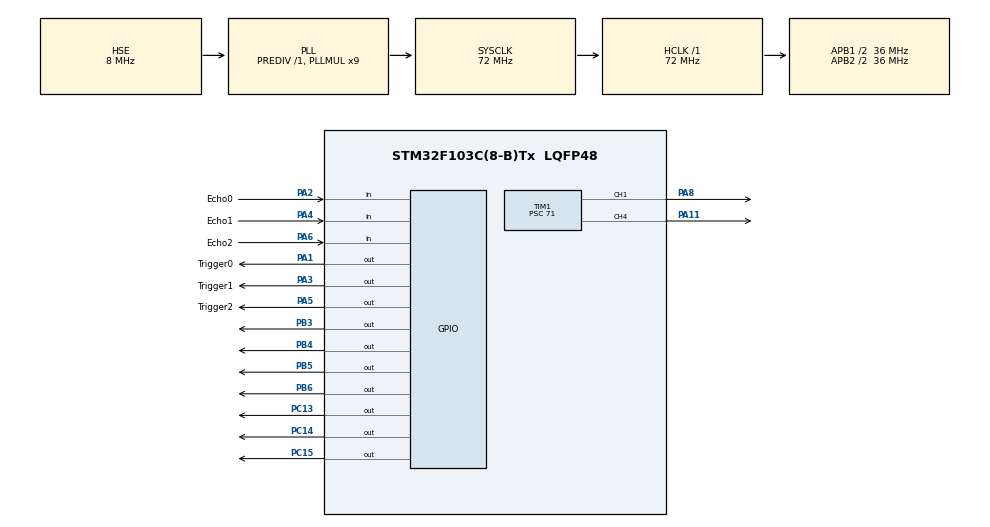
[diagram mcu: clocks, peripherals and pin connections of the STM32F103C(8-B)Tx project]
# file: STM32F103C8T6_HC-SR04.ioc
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Mcu.Family=STM32F1
Mcu.Name=STM32F103C(8-B)Tx
Mcu.Package=LQFP48
NVIC.PriorityGroup=NVIC_PRIORITYGROUP_4
NVIC.TIM2_IRQn=true\:0\:0\:false\:false\:true\:true\:true\:true
PA1.GPIO_Label=Trigger0
PA1.GPIO_Speed=GPIO_SPEED_FREQ_HIGH
PA1.Signal=GPIO_Output
PA11.Signal=S_TIM1_CH4
PA2.GPIO_Label=Echo0
PA2.Signal=GPIO_Input
PA3.GPIO_Label=Trigger1
PA3.GPIO_Speed=GPIO_SPEED_FREQ_HIGH
PA3.Signal=GPIO_Output
PA4.GPIO_Label=Echo1
PA4.Signal=GPIO_Input
PA5.GPIO_Label=Trigger2
PA5.GPIO_Speed=GPIO_SPEED_FREQ_HIGH
PA5.Signal=GPIO_Output
PA6.GPIO_Label=Echo2
PA6.Signal=GPIO_Input
PA8.Signal=S_TIM1_CH1
PB3.Signal=GPIO_Output
PB4.Signal=GPIO_Output
PB5.Signal=GPIO_Output
PB6.Signal=GPIO_Output
PC13-TAMPER-RTC.Signal=GPIO_Output
PC14-OSC32_IN.Signal=GPIO_Output
PC15-OSC32_OUT.Signal=GPIO_Output
PD0-OSC_IN.Mode=HSE-External-Oscillator
PD0-OSC_IN.Signal=RCC_OSC_IN
PD1-OSC_OUT.Mode=HSE-External-Oscillator
PD1-OSC_OUT.Signal=RCC_OSC_OUT
ProjectManager.HeapSize=0x200
ProjectManager.StackSize=0x400
ProjectManager.TargetToolchain=STM32CubeIDE
RCC.AHBFreq_Value=72000000
RCC.APB1CLKDivider=RCC_HCLK_DIV2
RCC.APB1Freq_Value=36000000
RCC.APB1TimFreq_Value=72000000
RCC.APB2CLKDivider=RCC_HCLK_DIV2
RCC.APB2Freq_Value=36000000
RCC.APB2TimFreq_Value=72000000
RCC.HCLKFreq_Value=72000000
RCC.PLLMUL=RCC_PLL_MUL9
RCC.PLLSourceVirtual=RCC_PLLSOURCE_HSE
RCC.SYSCLKFreq_VALUE=72000000
RCC.SYSCLKSource=RCC_SYSCLKSOURCE_PLLCLK
RCC.USBFreq_Value=48000000
RCC.USBPrescaler=RCC_USBCLKSOURCE_PLL_DIV1_5
SH.S_TIM1_CH1.0=TIM1_CH1,PWM Generation1 CH1
SH.S_TIM1_CH4.0=TIM1_CH4,PWM Generation4 CH4
TIM1.Channel-PWM\ Generation1\ CH1=TIM_CHANNEL_1
TIM1.Channel-PWM\ Generation4\ CH4=TIM_CHANNEL_4
TIM1.Period=999
TIM1.Prescaler=71
TIM2.Period=57
TIM2.Prescaler=72
VP_SYS_VS_ND.Mode=No_Debug
VP_TIM1_VS_ClockSourceINT.Mode=Internal
VP_TIM2_VS_ClockSourceINT.Mode=Internal
board=custom

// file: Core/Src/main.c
/* USER CODE BEGIN Header */
/**
  ******************************************************************************
  * @file           : main.c
  * @brief          : Main program body
  ******************************************************************************
  * @attention
  *
  * <h2><center>&copy; Copyright (c) 2020 STMicroelectronics.
  * All rights reserved.</center></h2>
  *
  * This software component is licensed by ST under BSD 3-Clause license,
  * the "License"; You may not use this file except in compliance with the
  * License. You may obtain a copy of the License at:
  *                        opensource.org/licenses/BSD-3-Clause
  *
  ******************************************************************************
  */
/* USER CODE END Header */
#include "main.h"

/* USER CODE BEGIN Includes */
#include "myLibrary.h"
#include "Motor.h"
/* USER CODE END Includes */

TIM_HandleTypeDef htim1;
TIM_HandleTypeDef htim2;

void SystemClock_Config(void);
static void MX_GPIO_Init(void);
static void MX_TIM2_Init(void);
static void MX_TIM1_Init(void);

int main(void)
{

  /* MCU Configuration--------------------------------------------------------*/

  /* Reset of all peripherals, Initializes the Flash interface and the Systick. */
  HAL_Init();

  /* Configure the system clock */
  SystemClock_Config();

  /* Initialize all configured peripherals */
  MX_GPIO_Init();
  MX_TIM2_Init();
  MX_TIM1_Init();
  /* USER CODE BEGIN 2 */

  uint16_t distancesInCm[3];
  /* USER CODE END 2 */
  Motors_Init();
   Set_Speed(100);
   Move_Forward();
  /* Infinite loop */
  /* USER CODE BEGIN WHILE */
  HAL_GPIO_WritePin(GPIOC, GPIO_PIN_13, GPIO_PIN_RESET);
  HAL_GPIO_WritePin(GPIOC, GPIO_PIN_14, GPIO_PIN_RESET);
  HAL_GPIO_WritePin(GPIOC, GPIO_PIN_15, GPIO_PIN_RESET);

  while (1)
  {
    /* USER CODE END WHILE */

    /* USER CODE BEGIN 3 */

	  for(uint16_t i=0; i<3; i++)
	  {
		  sensor = i;//update sensor index in timer2
		  distancesInCm[i] = measureDistance(triggerPorts[i], triggerPins[i], echoPorts[i], echoPins[i]);
		  if (i==0&&distancesInCm[i]<40){
			  HAL_GPIO_WritePin(GPIOC, GPIO_PIN_13, GPIO_PIN_SET);
			  HAL_Delay(5000);
			  HAL_GPIO_WritePin(GPIOC, GPIO_PIN_13, GPIO_PIN_RESET);

		  }
		  if (i==1&&distancesInCm[i]<40){
		  			  HAL_GPIO_WritePin(GPIOC, GPIO_PIN_14, GPIO_PIN_SET);
		  			  HAL_Delay(5000);
		  			  HAL_GPIO_WritePin(GPIOC, GPIO_PIN_14, GPIO_PIN_RESET);

		  		  }
		  if (i==2&&distancesInCm[i]<40){
		  			  HAL_GPIO_WritePin(GPIOC, GPIO_PIN_15, GPIO_PIN_SET);
		  			  HAL_Delay(5000);
		  			  HAL_GPIO_WritePin(GPIOC, GPIO_PIN_15, GPIO_PIN_RESET);
		  		  }

	  }
  }
  /* USER CODE END 3 */
}

void SystemClock_Config(void)
{
  RCC_OscInitTypeDef RCC_OscInitStruct = {0};
  RCC_ClkInitTypeDef RCC_ClkInitStruct = {0};

  /** Initializes the RCC Oscillators according to the specified parameters
  * in the RCC_OscInitTypeDef structure.
  */
  RCC_OscInitStruct.OscillatorType = RCC_OSCILLATORTYPE_HSE;
  RCC_OscInitStruct.HSEState = RCC_HSE_ON;
  RCC_OscInitStruct.HSEPredivValue = RCC_HSE_PREDIV_DIV1;
  RCC_OscInitStruct.HSIState = RCC_HSI_ON;
  RCC_OscInitStruct.PLL.PLLState = RCC_PLL_ON;
  RCC_OscInitStruct.PLL.PLLSource = RCC_PLLSOURCE_HSE;
  RCC_OscInitStruct.PLL.PLLMUL = RCC_PLL_MUL9;
  if (HAL_RCC_OscConfig(&RCC_OscInitStruct) != HAL_OK)
  {
    Error_Handler();
  }
  /** Initializes the CPU, AHB and APB buses clocks
  */
  RCC_ClkInitStruct.ClockType = RCC_CLOCKTYPE_HCLK|RCC_CLOCKTYPE_SYSCLK
                              |RCC_CLOCKTYPE_PCLK1|RCC_CLOCKTYPE_PCLK2;
  RCC_ClkInitStruct.SYSCLKSource = RCC_SYSCLKSOURCE_PLLCLK;
  RCC_ClkInitStruct.AHBCLKDivider = RCC_SYSCLK_DIV1;
  RCC_ClkInitStruct.APB1CLKDivider = RCC_HCLK_DIV2;
  RCC_ClkInitStruct.APB2CLKDivider = RCC_HCLK_DIV2;

  if (HAL_RCC_ClockConfig(&RCC_ClkInitStruct, FLASH_LATENCY_2) != HAL_OK)
  {
    Error_Handler();
  }
}

static void MX_TIM1_Init(void)
{

  TIM_ClockConfigTypeDef sClockSourceConfig = {0};
  TIM_MasterConfigTypeDef sMasterConfig = {0};
  TIM_OC_InitTypeDef sConfigOC = {0};
  TIM_BreakDeadTimeConfigTypeDef sBreakDeadTimeConfig = {0};

  htim1.Instance = TIM1;
  htim1.Init.Prescaler = 71;
  htim1.Init.CounterMode = TIM_COUNTERMODE_UP;
  htim1.Init.Period = 999;
  htim1.Init.ClockDivision = TIM_CLOCKDIVISION_DIV1;
  htim1.Init.RepetitionCounter = 0;
  htim1.Init.AutoReloadPreload = TIM_AUTORELOAD_PRELOAD_DISABLE;
  if (HAL_TIM_Base_Init(&htim1) != HAL_OK)
  {
    Error_Handler();
  }
  sClockSourceConfig.ClockSource = TIM_CLOCKSOURCE_INTERNAL;
  if (HAL_TIM_ConfigClockSource(&htim1, &sClockSourceConfig) != HAL_OK)
  {
    Error_Handler();
  }
  if (HAL_TIM_PWM_Init(&htim1) != HAL_OK)
  {
    Error_Handler();
  }
  sMasterConfig.MasterOutputTrigger = TIM_TRGO_RESET;
  sMasterConfig.MasterSlaveMode = TIM_MASTERSLAVEMODE_DISABLE;
  if (HAL_TIMEx_MasterConfigSynchronization(&htim1, &sMasterConfig) != HAL_OK)
  {
    Error_Handler();
  }
  sConfigOC.OCMode = TIM_OCMODE_PWM1;
  sConfigOC.Pulse = 0;
  sConfigOC.OCPolarity = TIM_OCPOLARITY_HIGH;
  sConfigOC.OCNPolarity = TIM_OCNPOLARITY_HIGH;
  sConfigOC.OCFastMode = TIM_OCFAST_DISABLE;
  sConfigOC.OCIdleState = TIM_OCIDLESTATE_RESET;
  sConfigOC.OCNIdleState = TIM_OCNIDLESTATE_RESET;
  if (HAL_TIM_PWM_ConfigChannel(&htim1, &sConfigOC, TIM_CHANNEL_1) != HAL_OK)
  {
    Error_Handler();
  }
  if (HAL_TIM_PWM_ConfigChannel(&htim1, &sConfigOC, TIM_CHANNEL_4) != HAL_OK)
  {
    Error_Handler();
  }
  sBreakDeadTimeConfig.OffStateRunMode = TIM_OSSR_DISABLE;
  sBreakDeadTimeConfig.OffStateIDLEMode = TIM_OSSI_DISABLE;
  sBreakDeadTimeConfig.LockLevel = TIM_LOCKLEVEL_OFF;
  sBreakDeadTimeConfig.DeadTime = 0;
  sBreakDeadTimeConfig.BreakState = TIM_BREAK_DISABLE;
  sBreakDeadTimeConfig.BreakPolarity = TIM_BREAKPOLARITY_HIGH;
  sBreakDeadTimeConfig.AutomaticOutput = TIM_AUTOMATICOUTPUT_DISABLE;
  if (HAL_TIMEx_ConfigBreakDeadTime(&htim1, &sBreakDeadTimeConfig) != HAL_OK)
  {
    Error_Handler();
  }
  HAL_TIM_MspPostInit(&htim1);

}

static void MX_TIM2_Init(void)
{

  TIM_ClockConfigTypeDef sClockSourceConfig = {0};
  TIM_MasterConfigTypeDef sMasterConfig = {0};

  htim2.Instance = TIM2;
  htim2.Init.Prescaler = 72;
  htim2.Init.CounterMode = TIM_COUNTERMODE_UP;
  htim2.Init.Period = 57;
  htim2.Init.ClockDivision = TIM_CLOCKDIVISION_DIV1;
  htim2.Init.AutoReloadPreload = TIM_AUTORELOAD_PRELOAD_DISABLE;
  if (HAL_TIM_Base_Init(&htim2) != HAL_OK)
  {
    Error_Handler();
  }
  sClockSourceConfig.ClockSource = TIM_CLOCKSOURCE_INTERNAL;
  if (HAL_TIM_ConfigClockSource(&htim2, &sClockSourceConfig) != HAL_OK)
  {
    Error_Handler();
  }
  sMasterConfig.MasterOutputTrigger = TIM_TRGO_RESET;
  sMasterConfig.MasterSlaveMode = TIM_MASTERSLAVEMODE_DISABLE;
  if (HAL_TIMEx_MasterConfigSynchronization(&htim2, &sMasterConfig) != HAL_OK)
  {
    Error_Handler();
  }

}

static void MX_GPIO_Init(void)
{
  GPIO_InitTypeDef GPIO_InitStruct = {0};

  /* GPIO Ports Clock Enable */
  __HAL_RCC_GPIOC_CLK_ENABLE();
  __HAL_RCC_GPIOD_CLK_ENABLE();
  __HAL_RCC_GPIOA_CLK_ENABLE();
  __HAL_RCC_GPIOB_CLK_ENABLE();

  /*Configure GPIO pin Output Level */
  HAL_GPIO_WritePin(GPIOC, GPIO_PIN_13|GPIO_PIN_14|GPIO_PIN_15, GPIO_PIN_RESET);

  /*Configure GPIO pin Output Level */
  HAL_GPIO_WritePin(GPIOA, Trigger0_Pin|Trigger1_Pin|Trigger2_Pin, GPIO_PIN_RESET);

  /*Configure GPIO pin Output Level */
  HAL_GPIO_WritePin(GPIOB, GPIO_PIN_3|GPIO_PIN_4|GPIO_PIN_5|GPIO_PIN_6, GPIO_PIN_RESET);

  /*Configure GPIO pins : PC13 PC14 PC15 */
  GPIO_InitStruct.Pin = GPIO_PIN_13|GPIO_PIN_14|GPIO_PIN_15;
  GPIO_InitStruct.Mode = GPIO_MODE_OUTPUT_PP;
  GPIO_InitStruct.Pull = GPIO_NOPULL;
  GPIO_InitStruct.Speed = GPIO_SPEED_FREQ_LOW;
  HAL_GPIO_Init(GPIOC, &GPIO_InitStruct);

  /*Configure GPIO pins : Trigger0_Pin Trigger1_Pin Trigger2_Pin */
  GPIO_InitStruct.Pin = Trigger0_Pin|Trigger1_Pin|Trigger2_Pin;
  GPIO_InitStruct.Mode = GPIO_MODE_OUTPUT_PP;
  GPIO_InitStruct.Pull = GPIO_NOPULL;
  GPIO_InitStruct.Speed = GPIO_SPEED_FREQ_HIGH;
  HAL_GPIO_Init(GPIOA, &GPIO_InitStruct);

  /*Configure GPIO pins : Echo0_Pin Echo1_Pin Echo2_Pin */
  GPIO_InitStruct.Pin = Echo0_Pin|Echo1_Pin|Echo2_Pin;
  GPIO_InitStruct.Mode = GPIO_MODE_INPUT;
  GPIO_InitStruct.Pull = GPIO_NOPULL;
  HAL_GPIO_Init(GPIOA, &GPIO_InitStruct);

  /*Configure GPIO pins : PB3 PB4 PB5 PB6 */
  GPIO_InitStruct.Pin = GPIO_PIN_3|GPIO_PIN_4|GPIO_PIN_5|GPIO_PIN_6;
  GPIO_InitStruct.Mode = GPIO_MODE_OUTPUT_PP;
  GPIO_InitStruct.Pull = GPIO_NOPULL;
  GPIO_InitStruct.Speed = GPIO_SPEED_FREQ_LOW;
  HAL_GPIO_Init(GPIOB, &GPIO_InitStruct);

}

void Error_Handler(void)
{
}

/************************ (C) COPYRIGHT STMicroelectronics *****END OF FILE****/
